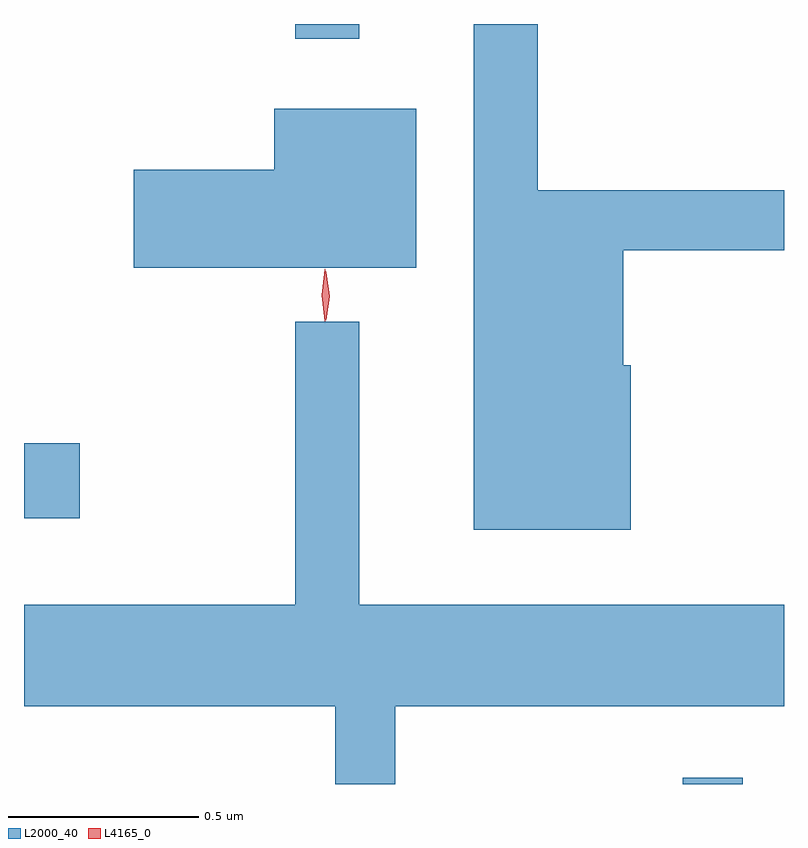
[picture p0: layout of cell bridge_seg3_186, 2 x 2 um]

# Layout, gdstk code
import gdstk
lib = gdstk.Library(unit=1e-6, precision=1e-09)
def R(c, l, rs):  # rectangles x0, y0, x1, y1
    for r in rs: c.add(gdstk.rectangle(r[:2], r[2:], *l))
def P(c, l, *ps):  # polygons
    for p in ps: c.add(gdstk.Polygon(p, *l))
L2000_40 = (2000, 40)
L4165_0 = (4165, 0)

bridge_seg3_186 = lib.new_cell('bridge_seg3_186')
R(bridge_seg3_186, L2000_40, [(884.591,1123.592,884.749,1123.608), (882.857,1124.291,883.004,1124.489), (883.571,1125.553,883.739,1125.592)])
P(bridge_seg3_186, L2000_40, [(884.454,1124.694),(884.434,1124.694),(884.434,1124.996),(884.857,1124.996),(884.857,1125.154),(884.209,1125.154),(884.209,1125.592),(884.041,1125.592),(884.041,1124.261),(884.454,1124.261)],
  [(883.889,1125.369),(883.516,1125.369),(883.516,1125.209),(883.146,1125.209),(883.146,1124.951),(883.889,1124.951)],
  [(883.834,1123.796),(884.857,1123.796),(884.857,1124.064),(883.739,1124.064),(883.739,1124.808),(883.571,1124.808),(883.571,1124.064),(882.857,1124.064),(882.857,1123.796),(883.676,1123.796),(883.676,1123.592),(883.834,1123.592)])
P(bridge_seg3_186, L4165_0, [(883.649,1124.81),(883.64,1124.878),(883.649,1124.946),(883.649,1124.946),(883.65,1124.946),(883.659,1124.878),(883.65,1124.81),(883.65,1124.81)],
  [(883.652,1124.813),(883.652,1124.813),(883.642,1124.876),(883.652,1124.939),(883.652,1124.94),(883.653,1124.939),(883.662,1124.876),(883.653,1124.813)])

lib.write_gds('bridge_seg3_186.gds')
